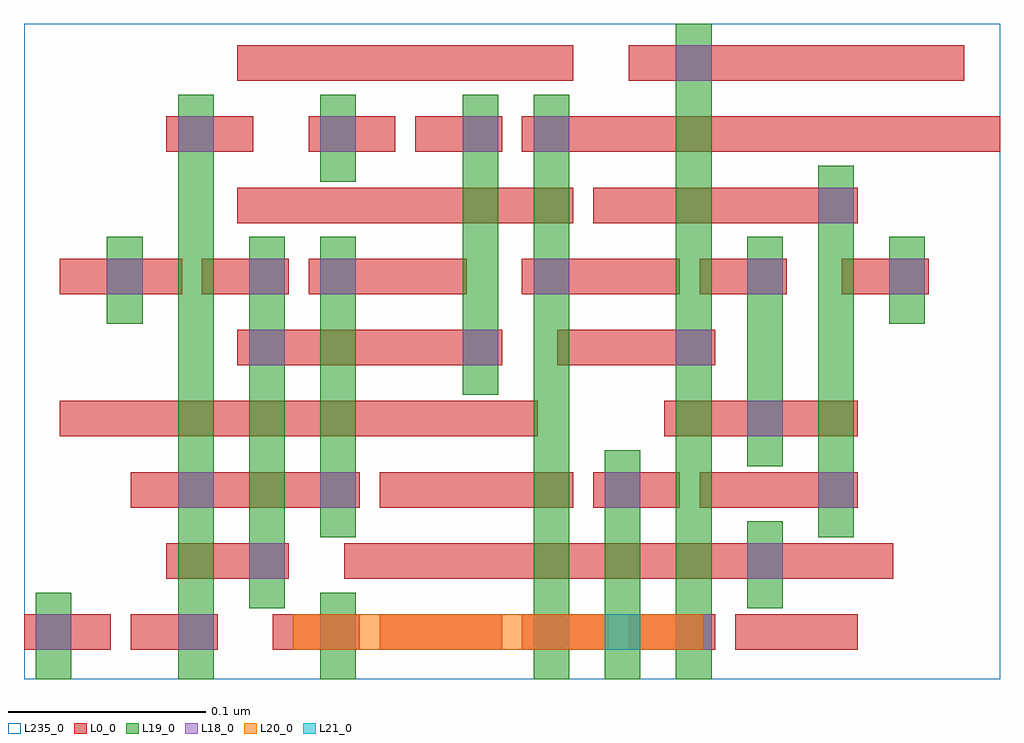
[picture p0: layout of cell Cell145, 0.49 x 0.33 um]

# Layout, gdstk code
import gdstk
lib = gdstk.Library(unit=1e-6, precision=2.5e-10)
def R(c, l, rs):  # rectangles x0, y0, x1, y1
    for r in rs: c.add(gdstk.rectangle(r[:2], r[2:], *l))
def A(c, l, x, y, w, h, nx, ny, dx, dy):  # array of equal rectangles
    R(c, l, [(x+i*dx, y+j*dy, x+i*dx+w, y+j*dy+h) for i in range(nx) for j in range(ny)])
L0_0 = (0, 0)
L18_0 = (18, 0)
L19_0 = (19, 0)
L20_0 = (20, 0)
L21_0 = (21, 0)
L235_0 = (235, 0)

cell145 = lib.new_cell('Cell145')
R(cell145, L0_0, [(0.004,-0.001,0.048,0.017), (0.058,-0.001,0.102,0.017), (0.13,-0.001,0.174,0.017), (0.184,-0.001,0.246,0.017), (0.256,-0.001,0.3,0.017), (0.31,-0.001,0.354,0.017), (0.364,-0.001,0.426,0.017), (0.076,0.035,0.138,0.053), (0.166,0.035,0.444,0.053), (0.058,0.071,0.174,0.089), (0.184,0.071,0.282,0.089), (0.292,0.071,0.336,0.089), (0.346,0.071,0.426,0.089), (0.022,0.107,0.264,0.125), (0.328,0.107,0.426,0.125), (0.112,0.143,0.246,0.161), (0.274,0.143,0.354,0.161), (0.022,0.179,0.084,0.197), (0.094,0.179,0.138,0.197), (0.148,0.179,0.228,0.197), (0.256,0.179,0.336,0.197), (0.346,0.179,0.39,0.197), (0.418,0.179,0.462,0.197), (0.112,0.215,0.282,0.233), (0.292,0.215,0.426,0.233), (0.076,0.251,0.12,0.269), (0.148,0.251,0.192,0.269), (0.202,0.251,0.246,0.269), (0.256,0.251,0.498,0.269), (0.112,0.287,0.282,0.305), (0.31,0.287,0.48,0.305)])
A(cell145, L18_0, 0.01, -0.001, 0.018, 0.018, 3, 1, 0.072, 0)
A(cell145, L18_0, 0.118, 0.143, 0.018, 0.018, 3, 1, 0.108, 0)
A(cell145, L18_0, 0.154, 0.179, 0.018, 0.018, 3, 1, 0.108, 0)
A(cell145, L18_0, 0.082, 0.251, 0.018, 0.018, 3, 1, 0.072, 0)
R(cell145, L18_0, [(0.262,-0.001,0.28,0.017), (0.334,-0.001,0.352,0.017), (0.118,0.035,0.136,0.053), (0.37,0.035,0.388,0.053), (0.082,0.071,0.1,0.089), (0.154,0.071,0.172,0.089), (0.298,0.071,0.316,0.089), (0.406,0.071,0.424,0.089), (0.37,0.107,0.388,0.125), (0.046,0.179,0.064,0.197), (0.118,0.179,0.136,0.197), (0.442,0.179,0.46,0.197), (0.406,0.215,0.424,0.233), (0.262,0.251,0.28,0.269), (0.334,0.287,0.352,0.305)])
R(cell145, L19_0, [(0.01,-0.016,0.028,0.028), (0.082,-0.016,0.1,0.28), (0.154,-0.016,0.172,0.028), (0.262,-0.016,0.28,0.28), (0.298,-0.016,0.316,0.1), (0.334,-0.016,0.352,0.316), (0.118,0.02,0.136,0.208), (0.37,0.02,0.388,0.064), (0.154,0.056,0.172,0.208), (0.406,0.056,0.424,0.244), (0.37,0.092,0.388,0.208), (0.226,0.128,0.244,0.28), (0.046,0.164,0.064,0.208), (0.442,0.164,0.46,0.208), (0.154,0.236,0.172,0.28)])
R(cell145, L20_0, [(0.14,-0.001,0.348,0.017)])
R(cell145, L21_0, [(0.298,-0.001,0.316,0.017)])
R(cell145, L235_0, [(0.004,-0.016,0.498,0.316)])

lib.write_gds('Cell145.gds')
